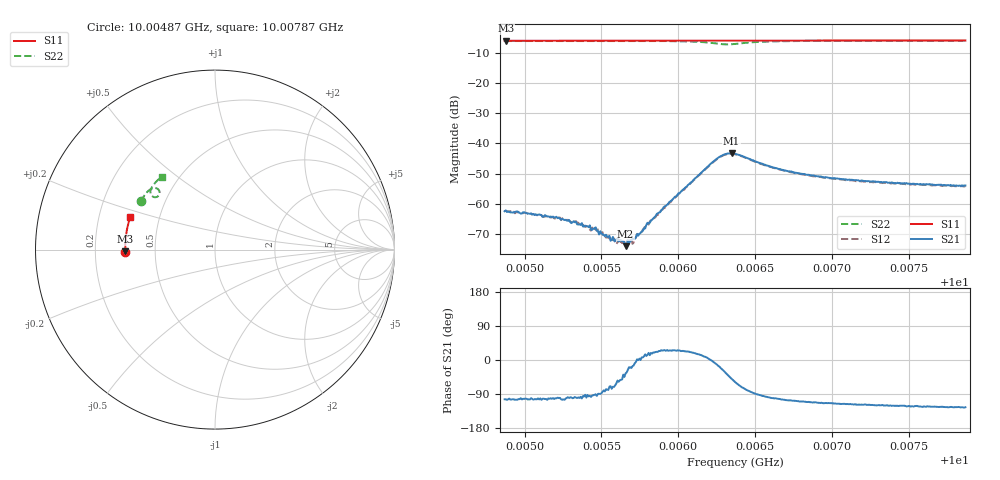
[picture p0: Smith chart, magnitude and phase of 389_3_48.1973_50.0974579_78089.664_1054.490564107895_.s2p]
#  HZ  S  RI  R  50.00
! Rohde & Schwarz Vector Network Analyzer
! Rohde-Schwarz,ZNB20-2Port,1311601062101988,3.16
! Created: UTC 3/20/2024, 11:53:33 AM
! freq[Hz]  re:S11  im:S11  re:S21  im:S21  re:S12  im:S12  re:S22  im:S22
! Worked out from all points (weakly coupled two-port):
!   401 points, 10.00487 GHz to 10.00787 GHz, reference 50 ohm
!   highest |S21| = -43.25 dB at 10.00635 GHz (marker M1); lowest = -74.0 dB at 10.00566 GHz (marker M2)
!   lowest |S11| = -6.0 dB at 10.00488 GHz (marker M3), VSWR 2.99, Z = 16.7 - j0.449 ohm
!   |S11| at or under -10 dB: nowhere
!   |S22| runs from -7.2 to -6.0 dB; largest |S21 - S12| = 0.00039
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1.0004871e10  -0.4992 -0.0106  -0.000177 -0.000735  -0.000144 -0.000743  -0.4139 0.2699
1.0004878e10  -0.4991 -0.0101  -0.000186 -0.000758  -0.000134 -0.000763  -0.4136 0.2704
1.0005215e10  -0.4997 0.0119  -9.59e-05 -0.000574  -7.39e-05 -0.000581  -0.4011 0.2902
1.0005373e10  -0.4999 0.022  -9.58e-05 -0.000472  -5.84e-05 -0.000453  -0.3947 0.2997
1.0005477e10  -0.4997 0.0286  3.57e-06 -0.00036  3.22e-05 -0.000378  -0.39 0.3059
1.000553e10  -0.4996 0.0322  6.96e-05 -0.000301  6.15e-05 -0.000272  -0.3876 0.3092
1.0005575e10  -0.4996 0.0351  9.39e-05 -0.000268  9.06e-05 -0.000235  -0.3853 0.3119
1.0005605e10  -0.4994 0.0371  0.000157 -0.000218  0.000113 -0.000202  -0.3836 0.3137
1.0005657e10  -0.4993 0.0405  0.000163 -0.000116  0.000196 -0.000119  -0.381 0.3169
1.0005695e10  -0.4993 0.0428  0.00023 -8.87e-05  0.000257 -5.27e-05  -0.3789 0.3193
1.0005717e10  -0.4991 0.0442  0.000261 -3.9e-05  0.000268 -2.69e-05  -0.3777 0.3207
1.0005755e10  -0.499 0.0467  0.000331 -1.49e-07  0.000329 6.26e-05  -0.3755 0.3233
1.0005785e10  -0.4987 0.0486  0.00038 0.000101  0.000404 0.000138  -0.3734 0.3252
1.0005874e10  -0.4983 0.0544  0.000658 0.000291  0.000649 0.000309  -0.367 0.331
1.0006234e10  -0.4955 0.0776  0.00514 -0.00059  0.00507 -0.000339  -0.3122 0.3302
1.0006294e10  -0.4948 0.0812  0.00576 -0.00305  0.00578 -0.00271  -0.3096 0.3083
1.0006346e10  -0.4945 0.0843  0.00447 -0.00523  0.00463 -0.00489  -0.3242 0.2934
1.0006369e10  -0.4945 0.0857  0.00355 -0.00571  0.00381 -0.00543  -0.3325 0.2916
1.0006646e10  -0.492 0.1033  -0.00081 -0.00374  -0.000628 -0.00368  -0.3581 0.3334
1.0006871e10  -0.4894 0.1178  -0.00111 -0.00272  -0.000945 -0.00274  -0.348 0.3537
1.0007373e10  -0.4818 0.1492  -0.00114 -0.00194  -0.00101 -0.00199  -0.3229 0.3831
1.0007867e10  -0.4724 0.1797  -0.00115 -0.00166  -0.00106 -0.00166  -0.2978 0.4059
